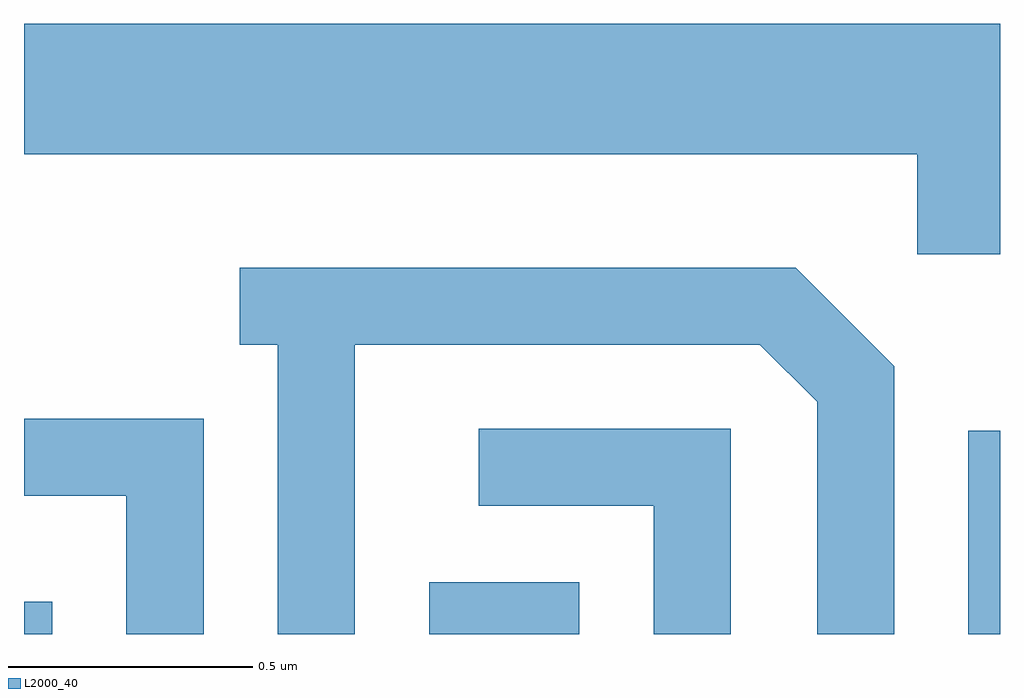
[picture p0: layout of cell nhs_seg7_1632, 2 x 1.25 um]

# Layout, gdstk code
import gdstk
lib = gdstk.Library(unit=1e-6, precision=1e-09)
def R(c, l, rs):  # rectangles x0, y0, x1, y1
    for r in rs: c.add(gdstk.rectangle(r[:2], r[2:], *l))
def P(c, l, *ps):  # polygons
    for p in ps: c.add(gdstk.Polygon(p, *l))
L2000_40 = (2000, 40)

nhs_seg7_1632 = lib.new_cell('nhs_seg7_1632')
R(nhs_seg7_1632, L2000_40, [(196.611,1793.252,196.669,1793.319), (197.441,1793.252,197.749,1793.359), (198.546,1793.252,198.611,1793.669)])
P(nhs_seg7_1632, L2000_40, [(198.611,1794.504),(196.611,1794.504),(196.611,1794.236),(198.441,1794.236),(198.441,1794.031),(198.611,1794.031)],
  [(197.289,1793.846),(198.119,1793.846),(198.236,1793.729),(198.236,1793.252),(198.394,1793.252),(198.394,1793.802),(198.192,1794.004),(197.053,1794.004),(197.053,1793.846),(197.131,1793.846),(197.131,1793.252),(197.289,1793.252)],
  [(196.979,1793.694),(196.611,1793.694),(196.611,1793.536),(196.821,1793.536),(196.821,1793.252),(196.979,1793.252)],
  [(198.059,1793.674),(197.543,1793.674),(197.543,1793.516),(197.901,1793.516),(197.901,1793.252),(198.059,1793.252)])

lib.write_gds('nhs_seg7_1632.gds')
